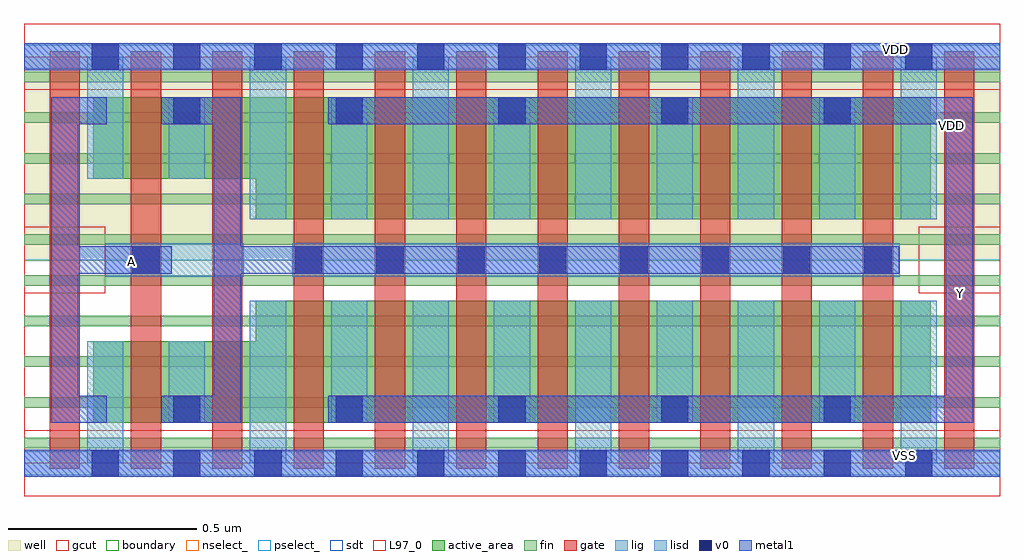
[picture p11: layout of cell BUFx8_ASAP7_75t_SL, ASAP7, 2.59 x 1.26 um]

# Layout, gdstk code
import gdstk
lib = gdstk.Library(unit=1e-6, precision=2.5e-10)
def R(c, l, rs):  # rectangles x0, y0, x1, y1
    for r in rs: c.add(gdstk.rectangle(r[:2], r[2:], *l))
def A(c, l, x, y, w, h, nx, ny, dx, dy):  # array of equal rectangles
    R(c, l, [(x+i*dx, y+j*dy, x+i*dx+w, y+j*dy+h) for i in range(nx) for j in range(ny)])
def P(c, l, *ps):  # polygons
    for p in ps: c.add(gdstk.Polygon(p, *l))
well = (1, 0)
fin = (2, 0)
gate = (7, 0)
gcut = (10, 0)
active_area = (11, 0)
nselect_ = (12, 0)
pselect_ = (13, 0)
lig = (16, 0)
lisd = (17, 0)
v0 = (18, 0)
metal1 = (19, 0)
sdt = (88, 0)
L97_0 = (97, 0)
boundary = (100, 0)

bufx8_asap7_75t_sl = lib.new_cell('BUFx8_ASAP7_75t_SL')
R(bufx8_asap7_75t_sl, well, [(0,0.54,2.592,1.08)])
A(bufx8_asap7_75t_sl, fin, 0, 0.04, 2.592, 0.028, 1, 10, 0, 0.108)
A(bufx8_asap7_75t_sl, gate, 0.068, -0.014, 0.08, 1.108, 12, 1, 0.216, 0)
R(bufx8_asap7_75t_sl, gcut, [(0,-0.088,2.592,0.088), (0,0.452,0.216,0.628), (2.376,0.452,2.592,0.628), (0,0.992,2.592,1.168)])
P(bufx8_asap7_75t_sl, active_area, [(2.408,0.432),(0.616,0.432),(0.616,0.324),(0.184,0.324),(0.184,0.108),(2.408,0.108)],
  [(2.408,0.972),(0.184,0.972),(0.184,0.756),(0.616,0.756),(0.616,0.648),(2.408,0.648)])
R(bufx8_asap7_75t_sl, nselect_, [(0,0,2.592,0.54)])
R(bufx8_asap7_75t_sl, pselect_, [(0,0.54,2.592,1.08)])
R(bufx8_asap7_75t_sl, lig, [(0,-0.032,2.592,0.032), (0.216,0.496,0.584,0.584), (0.712,0.496,2.326,0.584), (0,1.048,2.592,1.112)])
A(bufx8_asap7_75t_sl, lisd, 0.6, 0, 0.096, 0.432, 5, 2, 0.432, 0.648)
A(bufx8_asap7_75t_sl, lisd, 0.816, 0.108, 0.096, 0.324, 4, 2, 0.432, 0.54)
R(bufx8_asap7_75t_sl, lisd, [(0.168,0,0.264,0.324), (0.384,0.108,0.48,0.324), (0.168,0.756,0.264,1.08), (0.384,0.756,0.48,0.972)])
A(bufx8_asap7_75t_sl, v0, 0.18, -0.036, 0.072, 0.072, 11, 2, 0.216, 1.08)
A(bufx8_asap7_75t_sl, v0, 0.396, 0.108, 0.072, 0.072, 5, 2, 0.432, 0.792)
A(bufx8_asap7_75t_sl, v0, 0.72, 0.504, 0.072, 0.072, 8, 1, 0.216, 0)
R(bufx8_asap7_75t_sl, v0, [(0.288,0.504,0.36,0.576)])
R(bufx8_asap7_75t_sl, metal1, [(0,-0.036,2.592,0.036), (0,1.044,2.592,1.116)])
P(bufx8_asap7_75t_sl, metal1, [(2.52,0.972),(0.808,0.972),(0.808,0.9),(2.448,0.9),(2.448,0.18),(0.808,0.18),(0.808,0.108),(2.52,0.108)],
  [(2.324,0.576),(0.576,0.576),(0.576,0.972),(0.364,0.972),(0.364,0.9),(0.504,0.9),(0.504,0.18),(0.364,0.18),(0.364,0.108),(0.576,0.108),(0.576,0.504),(2.324,0.504)],
  [(0.392,0.576),(0.144,0.576),(0.144,0.9),(0.22,0.9),(0.22,0.972),(0.072,0.972),(0.072,0.108),(0.22,0.108),(0.22,0.18),(0.144,0.18),(0.144,0.504),(0.392,0.504)])
A(bufx8_asap7_75t_sl, sdt, 0.6, 0.108, 0.096, 0.324, 9, 2, 0.216, 0.54)
R(bufx8_asap7_75t_sl, sdt, [(0.168,0.108,0.264,0.324), (0.384,0.108,0.48,0.324), (0.168,0.756,0.264,0.972), (0.384,0.756,0.48,0.972)])
R(bufx8_asap7_75t_sl, L97_0, [(0,0,2.592,1.08)])
R(bufx8_asap7_75t_sl, boundary, [(0,0,2.592,1.08)])
bufx8_asap7_75t_sl.add(gdstk.Label('Y', (2.486,0.452), layer=19, texttype=251))
bufx8_asap7_75t_sl.add(gdstk.Label('A', (0.286,0.536), layer=19, texttype=251))
bufx8_asap7_75t_sl.add(gdstk.Label('VSS', (2.338,0.02), layer=19, texttype=251))
bufx8_asap7_75t_sl.add(gdstk.Label('VDD', (2.314,1.098), layer=19, texttype=251))
bufx8_asap7_75t_sl.add(gdstk.Label('VDD', (2.464,0.896), layer=1, texttype=251))
bufx8_asap7_75t_sl.add(gdstk.Label('VSS', (2.74,0.892), layer=3, texttype=251))

lib.write_gds('BUFx8_ASAP7_75t_SL.gds')
